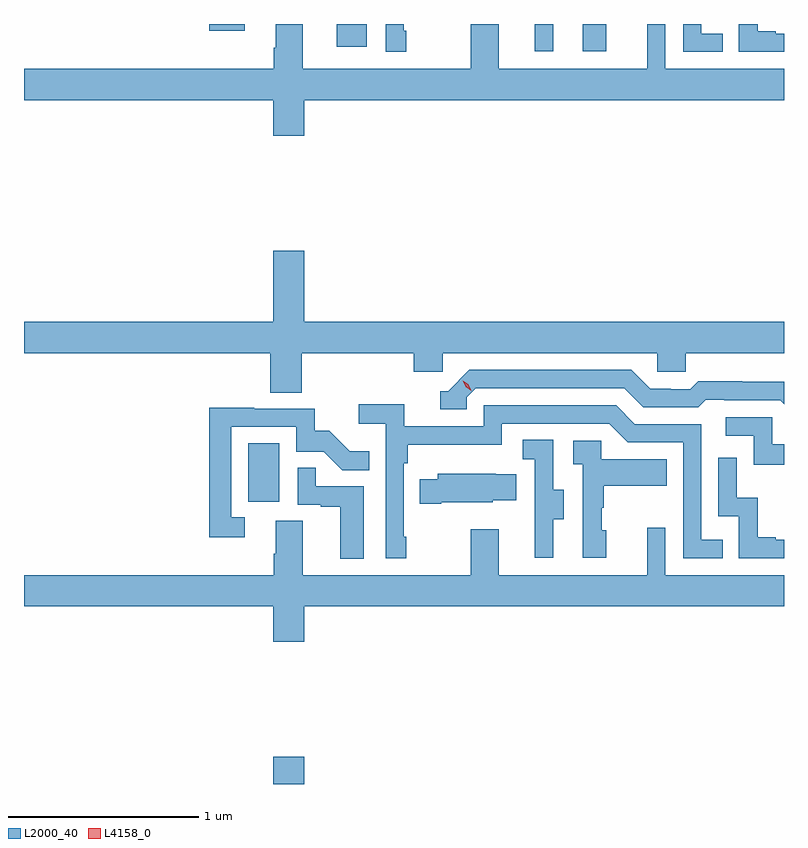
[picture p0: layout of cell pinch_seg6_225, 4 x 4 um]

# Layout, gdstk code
import gdstk
lib = gdstk.Library(unit=1e-6, precision=1e-09)
def R(c, l, rs):  # rectangles x0, y0, x1, y1
    for r in rs: c.add(gdstk.rectangle(r[:2], r[2:], *l))
def P(c, l, *ps):  # polygons
    for p in ps: c.add(gdstk.Polygon(p, *l))
L2000_40 = (2000, 40)
L4158_0 = (4158, 0)

pinch_seg6_225 = lib.new_cell('pinch_seg6_225')
R(pinch_seg6_225, L2000_40, [(1142.03,925.088,1142.194,925.231), (1141.898,926.574,1142.062,926.881), (1143.407,928.944,1143.505,929.088), (1143.66,928.944,1143.784,929.088), (1142.366,928.968,1142.524,929.088), (1141.693,929.052,1141.882,929.088)])
P(pinch_seg6_225, L2000_40, [(1144.397,929.037),(1144.284,929.037),(1144.284,929.088),(1144.188,929.088),(1144.188,928.941),(1144.397,928.941)],
  [(1144.719,929.037),(1144.675,929.037),(1144.675,929.05),(1144.58,929.05),(1144.58,929.088),(1144.482,929.088),(1144.482,928.941),(1144.719,928.941)],
  [(1142.731,929.053),(1142.718,929.053),(1142.718,929.088),(1142.622,929.088),(1142.622,928.941),(1142.731,928.941)],
  [(1142.194,928.688),(1144.719,928.688),(1144.719,928.852),(1144.095,928.852),(1144.095,929.088),(1143.998,929.088),(1143.998,928.852),(1143.217,928.852),(1143.217,929.088),(1143.07,929.088),(1143.07,928.852),(1142.185,928.852),(1142.185,929.088),(1142.045,929.088),(1142.045,928.964),(1142.033,928.964),(1142.033,928.852),(1140.719,928.852),(1140.719,928.688),(1142.03,928.688),(1142.03,928.5),(1142.194,928.5)],
  [(1142.18,927.356),(1142.771,927.356),(1142.771,927.258),(1142.922,927.258),(1142.922,927.356),(1144.053,927.356),(1144.053,927.258),(1144.203,927.258),(1144.203,927.356),(1144.719,927.356),(1144.719,927.52),(1142.194,927.52),(1142.194,927.895),(1142.03,927.895),(1142.03,927.52),(1140.719,927.52),(1140.719,927.356),(1142.015,927.356),(1142.015,927.148),(1142.18,927.148)],
  [(1143.048,927.123),(1143.096,927.171),(1143.879,927.171),(1143.978,927.072),(1144.267,927.072),(1144.306,927.111),(1144.405,927.111),(1144.405,927.108),(1144.698,927.108),(1144.719,927.087),(1144.719,927.205),(1144.5,927.205),(1144.5,927.208),(1144.267,927.208),(1144.225,927.165),(1144.122,927.165),(1144.122,927.168),(1144.015,927.168),(1143.916,927.267),(1143.063,927.267),(1142.952,927.156),(1142.909,927.156),(1142.909,927.06),(1143.048,927.06)],
  [(1142.731,926.389),(1142.718,926.389),(1142.718,926.777),(1142.738,926.777),(1142.738,926.873),(1143.234,926.873),(1143.234,926.985),(1143.798,926.985),(1143.897,926.886),(1144.188,926.886),(1144.188,926.277),(1144.397,926.277),(1144.397,926.373),(1144.284,926.373),(1144.284,926.982),(1143.934,926.982),(1143.835,927.081),(1143.138,927.081),(1143.138,926.97),(1142.72,926.97),(1142.72,927.086),(1142.481,927.086),(1142.481,926.984),(1142.622,926.984),(1142.622,926.277),(1142.731,926.277)],
  [(1141.882,926.493),(1141.809,926.493),(1141.809,926.967),(1142.151,926.967),(1142.151,926.838),(1142.296,926.838),(1142.394,926.74),(1142.537,926.74),(1142.537,926.839),(1142.433,926.839),(1142.326,926.946),(1142.25,926.946),(1142.25,927.063),(1141.931,927.063),(1141.931,927.068),(1141.693,927.068),(1141.693,926.388),(1141.882,926.388)],
  [(1144.719,926.877),(1144.656,926.877),(1144.656,927.018),(1144.413,927.018),(1144.413,926.922),(1144.56,926.922),(1144.56,926.769),(1144.719,926.769)],
  [(1143.505,926.482),(1143.559,926.482),(1143.559,926.637),(1143.504,926.637),(1143.504,926.9),(1143.345,926.9),(1143.345,926.797),(1143.408,926.797),(1143.408,926.493),(1143.407,926.493),(1143.407,926.28),(1143.505,926.28)],
  [(1143.784,926.424),(1143.759,926.424),(1143.759,926.543),(1143.769,926.543),(1143.769,926.657),(1144.103,926.657),(1144.103,926.797),(1143.756,926.797),(1143.756,926.895),(1143.609,926.895),(1143.609,926.771),(1143.66,926.771),(1143.66,926.28),(1143.784,926.28)],
  [(1144.719,926.373),(1144.675,926.373),(1144.675,926.386),(1144.58,926.386),(1144.58,926.594),(1144.47,926.594),(1144.47,926.806),(1144.374,926.806),(1144.374,926.496),(1144.482,926.496),(1144.482,926.277),(1144.719,926.277)],
  [(1142.506,926.655),(1142.255,926.655),(1142.255,926.753),(1142.16,926.753),(1142.16,926.559),(1142.281,926.559),(1142.281,926.547),(1142.384,926.547),(1142.384,926.273),(1142.506,926.273)],
  [(1142.914,926.57),(1143.186,926.57),(1143.186,926.582),(1143.311,926.582),(1143.311,926.719),(1143.203,926.719),(1143.203,926.722),(1142.897,926.722),(1142.897,926.692),(1142.803,926.692),(1142.803,926.563),(1142.914,926.563)],
  [(1142.194,926.024),(1144.719,926.024),(1144.719,926.188),(1144.095,926.188),(1144.095,926.437),(1143.998,926.437),(1143.998,926.188),(1143.217,926.188),(1143.217,926.428),(1143.07,926.428),(1143.07,926.188),(1142.185,926.188),(1142.185,926.474),(1142.045,926.474),(1142.045,926.3),(1142.033,926.3),(1142.033,926.188),(1140.719,926.188),(1140.719,926.024),(1142.03,926.024),(1142.03,925.836),(1142.194,925.836)])
P(pinch_seg6_225, L4158_0, [(1143.074,927.159),(1143.043,927.178),(1143.027,927.211),(1143.027,927.211),(1143.027,927.211),(1143.058,927.192),(1143.074,927.159),(1143.074,927.159)])

lib.write_gds('pinch_seg6_225.gds')
